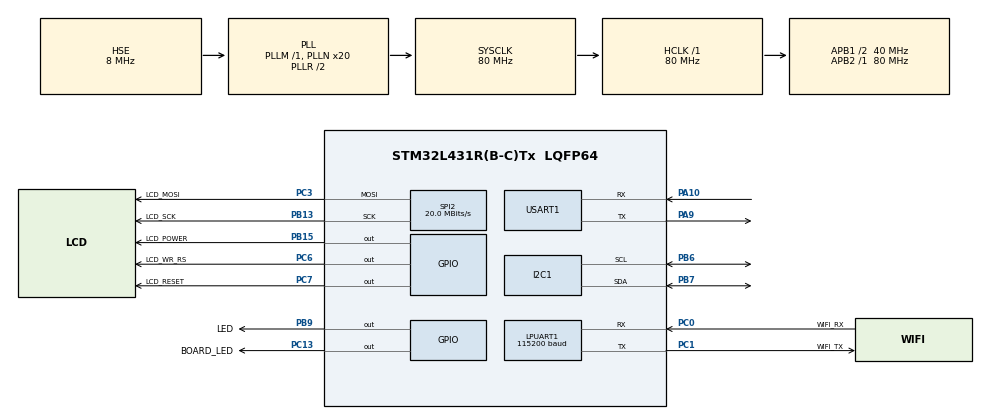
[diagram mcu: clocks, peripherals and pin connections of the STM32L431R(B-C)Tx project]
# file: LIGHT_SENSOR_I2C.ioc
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Dma.LPUART_RX.0.Direction=DMA_PERIPH_TO_MEMORY
Dma.LPUART_RX.0.Instance=DMA2_Channel7
Dma.LPUART_RX.0.MemDataAlignment=DMA_MDATAALIGN_BYTE
Dma.LPUART_RX.0.MemInc=DMA_MINC_ENABLE
Dma.LPUART_RX.0.Mode=DMA_NORMAL
Dma.LPUART_RX.0.PeriphDataAlignment=DMA_PDATAALIGN_BYTE
Dma.LPUART_RX.0.PeriphInc=DMA_PINC_DISABLE
Dma.LPUART_RX.0.Priority=DMA_PRIORITY_LOW
Dma.Request0=LPUART_RX
I2C1.Timing=0x00909BEB
LPUART1.BaudRate=115200
LPUART1.WordLength=UART_WORDLENGTH_8B
Mcu.Family=STM32L4
Mcu.Name=STM32L431R(B-C)Tx
Mcu.Package=LQFP64
NVIC.DMA2_Channel7_IRQn=true\:0\:0\:false\:false\:true\:false\:true
NVIC.LPUART1_IRQn=true\:0\:0\:false\:false\:true\:true\:true
NVIC.PriorityGroup=NVIC_PRIORITYGROUP_4
PA10.Mode=Asynchronous
PA10.Signal=USART1_RX
PA13\ (JTMS-SWDIO).Mode=Serial_Wire
PA13\ (JTMS-SWDIO).Signal=SYS_JTMS-SWDIO
PA14\ (JTCK-SWCLK).Mode=Serial_Wire
PA14\ (JTCK-SWCLK).Signal=SYS_JTCK-SWCLK
PA9.Mode=Asynchronous
PA9.Signal=USART1_TX
PB13.GPIO_Label=LCD_SCK
PB13.Mode=TX_Only_Simplex_Unidirect_Master
PB13.Signal=SPI2_SCK
PB15.GPIO_Label=LCD_POWER
PB15.GPIO_Speed=GPIO_SPEED_FREQ_VERY_HIGH
PB15.PinState=GPIO_PIN_SET
PB15.Signal=GPIO_Output
PB6.Mode=I2C
PB6.Signal=I2C1_SCL
PB7.Mode=I2C
PB7.Signal=I2C1_SDA
PB9.GPIO_Label=LED
PB9.GPIO_Speed=GPIO_SPEED_FREQ_VERY_HIGH
PB9.Signal=GPIO_Output
PC0.GPIO_Label=WIFI_RX
PC0.Mode=Asynchronous
PC0.Signal=LPUART1_RX
PC1.GPIO_Label=WIFI_TX
PC1.Mode=Asynchronous
PC1.Signal=LPUART1_TX
PC13.GPIO_Label=BOARD_LED
PC13.Signal=GPIO_Output
PC3.GPIO_Label=LCD_MOSI
PC3.Mode=TX_Only_Simplex_Unidirect_Master
PC3.Signal=SPI2_MOSI
PC6.GPIO_Label=LCD_WR_RS
PC6.GPIO_Speed=GPIO_SPEED_FREQ_VERY_HIGH
PC6.Signal=GPIO_Output
PC7.GPIO_Label=LCD_RESET
PC7.GPIO_Speed=GPIO_SPEED_FREQ_VERY_HIGH
PC7.PinState=GPIO_PIN_RESET
PC7.Signal=GPIO_Output
PH0-OSC_IN\ (PH0).Mode=HSE-External-Oscillator
PH0-OSC_IN\ (PH0).Signal=RCC_OSC_IN
PH1-OSC_OUT\ (PH1).Mode=HSE-External-Oscillator
PH1-OSC_OUT\ (PH1).Signal=RCC_OSC_OUT
ProjectManager.HeapSize=0x200
ProjectManager.StackSize=0x400
ProjectManager.TargetToolchain=MDK-ARM V5
RCC.ADCFreq_Value=32000000
RCC.AHBFreq_Value=80000000
RCC.APB1CLKDivider=RCC_HCLK_DIV2
RCC.APB1Freq_Value=40000000
RCC.APB1TimFreq_Value=80000000
RCC.APB2Freq_Value=80000000
RCC.APB2TimFreq_Value=80000000
RCC.CortexFreq_Value=80000000
RCC.HCLKFreq_Value=80000000
RCC.HSE_VALUE=8000000
RCC.HSI48_VALUE=48000000
RCC.HSI_VALUE=16000000
RCC.LSE_VALUE=32768
RCC.MSI_VALUE=4000000
RCC.PLLN=20
RCC.PLLSourceVirtual=RCC_PLLSOURCE_HSE
RCC.SYSCLKFreq_VALUE=80000000
RCC.SYSCLKSource=RCC_SYSCLKSOURCE_PLLCLK
RCC.VCOOutputFreq_Value=160000000
SPI2.BaudRatePrescaler=SPI_BAUDRATEPRESCALER_2
SPI2.CLKPhase=SPI_PHASE_2EDGE
SPI2.CLKPolarity=SPI_POLARITY_HIGH
SPI2.CalculateBaudRate=20.0 MBits/s
SPI2.DataSize=SPI_DATASIZE_8BIT
SPI2.Direction=SPI_DIRECTION_2LINES
SPI2.Mode=SPI_MODE_MASTER
SPI2.VirtualType=VM_MASTER
USART1.VirtualMode-Asynchronous=VM_ASYNC
board=custom

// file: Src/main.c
/* USER CODE BEGIN Header */
/**
  ******************************************************************************
  * @file           : main.c
  * @brief          : Main program body
  ******************************************************************************
  * @attention
  *
  * <h2><center>&copy; Copyright (c) 2020 STMicroelectronics.
  * All rights reserved.</center></h2>
  *
  * This software component is licensed by ST under BSD 3-Clause license,
  * the "License"; You may not use this file except in compliance with the
  * License. You may obtain a copy of the License at:
  *                        opensource.org/licenses/BSD-3-Clause
  *
  ******************************************************************************
  */
/* USER CODE END Header */

#include "main.h"
#include "dma.h"
#include "i2c.h"
#include "usart.h"
#include "spi.h"
#include "gpio.h"

/* USER CODE BEGIN Includes */
#include "lcd.h"
#include "HzLib.h"
#include "esp8266.h"
/* USER CODE END Includes */

/* USER CODE BEGIN PTD */
/*光照强度传感器结构体*/
typedef struct light_sensor
{
    /*光强值*/
    int				Lux ;
    /*multi_timer定时器句柄*/
    Timer 		timer1 ;
    /*定时器计数值*/
    uint16_t 	Timer_Count ;
    /*是否采集完成标志*/
    uint8_t   Conver_completed ;
    /*是否显示曲线*/
    uint8_t   Display_Plot_Flag ;
    /*定时回调*/
    void (*timeout_cb)(void);
} light_sensor_TypeDef;
light_sensor_TypeDef lsensor ;
extern light_sensor_TypeDef lsensor ;
/* USER CODE END PTD */

/* USER CODE BEGIN PD */
/*接收光强超时值*/
#define TIMEOUT 100
/*光强值检测阈值*/
#define LIGHT_SENSOR_THREHOLD 30
/*mode:模式选择*/
//连续高分辨率模式精度 1 lux
#define LUX_1_MODE   0x10
//连续高分辨率模式2精度 0.5 lux
#define LUX_0_5_MODE 0x11
//低分辨率模式
#define LUX_LOW_MODE 0x13

#define WRITE_ADDRESS 0x46		//0100 011  0
#define READ_ADDRESS  0x47		//0100 011  1
/* USER CODE END PD */

/* USER CODE BEGIN PV */
uint8_t 	runing_led_blink_flag = 0 ;
int 		led_display_count = 0;
Timer 		led_blink_timer ;
/* USER CODE END PV */

void SystemClock_Config(void);

/* USER CODE BEGIN 0 */
/*初始化参数*/
void Init_BH750(void);
/*读取光强*/
void ReadBH1750(uint8_t mode);
/*光强传感器服务*/
void Light_Sensor_Service(void);
/*曲线显示控制*/
void plot_display_controld(uint8_t flag);
/*LED服务*/
void LED_Blink_Service(void);
/*LED定时回调*/
void LED_Blink_CallBack(void);
/* USER CODE END 0 */

int main(void)
{

    /* MCU Configuration--------------------------------------------------------*/

    /* Reset of all peripherals, Initializes the Flash interface and the Systick. */
    HAL_Init();

    /* Configure the system clock */
    SystemClock_Config();

    /* Initialize all configured peripherals */
    MX_GPIO_Init();
    MX_DMA_Init();
    MX_I2C1_Init();
    MX_USART1_UART_Init();
    MX_LPUART1_UART_Init();
    MX_SPI2_Init();
    /* USER CODE BEGIN 2 */
    /*串口初始化后加这个延时，防止后面的printf打印乱码*/
    HAL_Delay(200);
    LCD_Init();
    LCD_Clear(BLACK);//清屏为黑色
    LCD_ShowString(5, 10, 240, 32, 32, "BearPi LuxTest");//显示字符串，字体大小32*32
    Init_BH750();
    timer_init(&lsensor.timer1, lsensor.timeout_cb, 1, 1);
    timer_start(&lsensor.timer1);
    timer_init(&led_blink_timer, LED_Blink_CallBack, 1, 1);
    timer_start(&led_blink_timer);

    wifi_send_cmd("AT+RST\r\n");
    Init_ESP8266_AP_Mode();
    /* USER CODE END 2 */

    /* Infinite loop */
    while (1)
    {

        /* USER CODE BEGIN 3 */
        Light_Sensor_Service();
        ESP8266_AP_Mode_Setting();
        LED_Blink_Service();
        timer_loop();

    }

    /* USER CODE END 3 */
}

void SystemClock_Config(void)
{
    RCC_OscInitTypeDef RCC_OscInitStruct = {0};
    RCC_ClkInitTypeDef RCC_ClkInitStruct = {0};
    RCC_PeriphCLKInitTypeDef PeriphClkInit = {0};

    /** Initializes the CPU, AHB and APB busses clocks
    */
    RCC_OscInitStruct.OscillatorType = RCC_OSCILLATORTYPE_HSE;
    RCC_OscInitStruct.HSEState = RCC_HSE_ON;
    RCC_OscInitStruct.PLL.PLLState = RCC_PLL_ON;
    RCC_OscInitStruct.PLL.PLLSource = RCC_PLLSOURCE_HSE;
    RCC_OscInitStruct.PLL.PLLM = 1;
    RCC_OscInitStruct.PLL.PLLN = 20;
    RCC_OscInitStruct.PLL.PLLP = RCC_PLLP_DIV7;
    RCC_OscInitStruct.PLL.PLLQ = RCC_PLLQ_DIV2;
    RCC_OscInitStruct.PLL.PLLR = RCC_PLLR_DIV2;

    if (HAL_RCC_OscConfig(&RCC_OscInitStruct) != HAL_OK)
    {
        Error_Handler();
    }

    /** Initializes the CPU, AHB and APB busses clocks
    */
    RCC_ClkInitStruct.ClockType = RCC_CLOCKTYPE_HCLK | RCC_CLOCKTYPE_SYSCLK
                                  | RCC_CLOCKTYPE_PCLK1 | RCC_CLOCKTYPE_PCLK2;
    RCC_ClkInitStruct.SYSCLKSource = RCC_SYSCLKSOURCE_PLLCLK;
    RCC_ClkInitStruct.AHBCLKDivider = RCC_SYSCLK_DIV1;
    RCC_ClkInitStruct.APB1CLKDivider = RCC_HCLK_DIV2;
    RCC_ClkInitStruct.APB2CLKDivider = RCC_HCLK_DIV1;

    if (HAL_RCC_ClockConfig(&RCC_ClkInitStruct, FLASH_LATENCY_4) != HAL_OK)
    {
        Error_Handler();
    }

    PeriphClkInit.PeriphClockSelection = RCC_PERIPHCLK_USART1 | RCC_PERIPHCLK_LPUART1
                                         | RCC_PERIPHCLK_I2C1;
    PeriphClkInit.Usart1ClockSelection = RCC_USART1CLKSOURCE_PCLK2;
    PeriphClkInit.Lpuart1ClockSelection = RCC_LPUART1CLKSOURCE_PCLK1;
    PeriphClkInit.I2c1ClockSelection = RCC_I2C1CLKSOURCE_PCLK1;

    if (HAL_RCCEx_PeriphCLKConfig(&PeriphClkInit) != HAL_OK)
    {
        Error_Handler();
    }

    /** Configure the main internal regulator output voltage
    */
    if (HAL_PWREx_ControlVoltageScaling(PWR_REGULATOR_VOLTAGE_SCALE1) != HAL_OK)
    {
        Error_Handler();
    }
}

/* USER CODE BEGIN 4 */
/*LED闪烁控制*/
void LED_BLINK_controld(uint8_t flag)
{
    if(0 == flag)
    {
        led_display_count = 0 ;
        runing_led_blink_flag = 0 ;
    }
    else
        runing_led_blink_flag = 1 ;
}

/*曲线显示控制*/
void plot_display_controld(uint8_t flag)
{
    if(0 == flag)
        lsensor.Display_Plot_Flag = 0 ;
    else
        lsensor.Display_Plot_Flag = 1 ;
}

/*LED服务*/
void LED_Blink_Service(void)
{
    if(500 == led_display_count)
    {
        led_display_count = 0 ;
        HAL_GPIO_TogglePin(GPIOC, BOARD_LED_Pin);
    }
}

/*LED任务定时回调*/
void LED_Blink_CallBack(void)
{
    if(1 == runing_led_blink_flag)
        ++led_display_count ;
}

/*光强传感器服务*/
void Light_Sensor_Service(void)
{
    /*流水号*/
    static int serial_number = 0;
    char display_buf[20] = {0};
    char procol_buf[20] = {0};
    ReadBH1750(LUX_1_MODE);

    if(1 == lsensor.Conver_completed)
    {
        ++serial_number ;

        if(65535 == serial_number)
            serial_number = 0 ;

        //显示字符串，字体大小32*32
        sprintf(display_buf, "%d%d%d%dLux", lsensor.Lux / 1000 % 100, lsensor.Lux / 100 % 10, lsensor.Lux / 10 % 10, lsensor.Lux % 10);
        LCD_ShowString(80, 42, 240, 32, 32, display_buf);

        if(lsensor.Lux > LIGHT_SENSOR_THREHOLD)
        {
            HAL_GPIO_WritePin(LED_GPIO_Port, LED_Pin, GPIO_PIN_RESET);
        }
        else
        {
            HAL_GPIO_WritePin(LED_GPIO_Port, LED_Pin, GPIO_PIN_SET);
        }

        sprintf(procol_buf, "%d%d%d%d%d %d%d%d%d%d",
                serial_number / 10000,
                serial_number / 1000 % 100 % 10,
                serial_number / 100 % 10,
                serial_number / 10 % 10,
                serial_number % 10,
                lsensor.Lux / 10000,
                lsensor.Lux / 1000 % 100 % 10,
                lsensor.Lux / 100 % 10,
                lsensor.Lux / 10 % 10,
                lsensor.Lux % 10
               );

        /*当该标志为1时，发送协议值*/
        if(1 == lsensor.Display_Plot_Flag)
            printf("%s \r\n", procol_buf);
    }
}

/*定时器回调函数*/
void timer1_callback(void)
{
    ++lsensor.Timer_Count;
}

/*初始化参数*/
void Init_BH750(void)
{
    lsensor.Lux = 0 ;
    lsensor.Timer_Count = 0 ;
    lsensor.Conver_completed = 0 ;
    lsensor.Display_Plot_Flag = 0 ;
    lsensor.timeout_cb = timer1_callback ;
}

/*读取光强*/
void ReadBH1750(uint8_t mode)
{
    float lux = 0;
    uint8_t ReadData[2] = {0};
    static uint8_t Sensor_Status = 0 ;

    /*读取光强流程*/
    switch(Sensor_Status)
    {
        /*1、发送检测光强模式的指令*/
        case 0:
            if(HAL_OK != HAL_I2C_Master_Transmit(&hi2c1, WRITE_ADDRESS, (uint8_t *)&mode, 1, 0xff))
                return  ;

            Sensor_Status = 1 ;
            lsensor.Timer_Count = 0 ;
            lsensor.Conver_completed = 0 ;
            break ;

        case 1:

            /*
            	2、发送命令后延时TIMEOUT ms等待读取
            	定时200ms，判断是否已经到了
            	这里相当于取代了延时等待，不占用CPU
            */
            if(TIMEOUT == lsensor.Timer_Count)
            {
                lsensor.Timer_Count = 0 ;

                //3、开始读取光强，发送读光强指令
                if(HAL_OK == HAL_I2C_Master_Receive(&hi2c1, READ_ADDRESS, ReadData, 2, 0xff))
                {
                    lux = (float)((ReadData[0] << 8) | ReadData[1]);
                    lux = (double)lux / 1.2;
                    lsensor.Lux = (int)lux ;
                    /*4、转换完成*/
                    lsensor.Conver_completed = 1 ;
                    Sensor_Status = 0 ;
                }
            }

            break ;

        default:
            break;
    }
}
/* USER CODE END 4 */

void Error_Handler(void)
{
}

/************************ (C) COPYRIGHT STMicroelectronics *****END OF FILE****/
